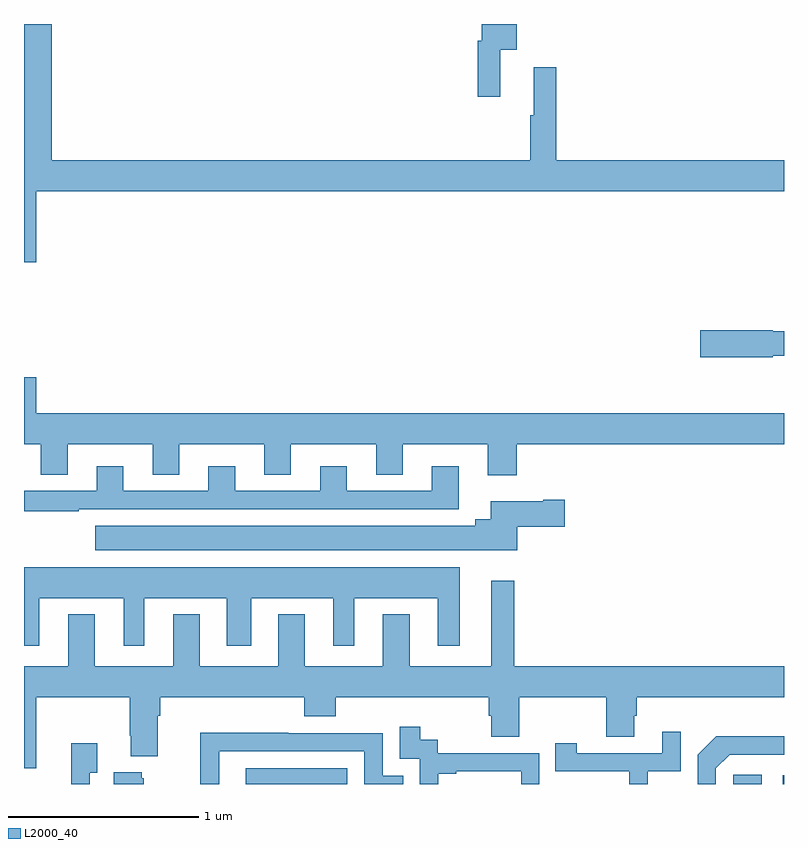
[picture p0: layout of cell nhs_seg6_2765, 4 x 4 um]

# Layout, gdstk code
import gdstk
lib = gdstk.Library(unit=1e-6, precision=1e-09)
def R(c, l, rs):  # rectangles x0, y0, x1, y1
    for r in rs: c.add(gdstk.rectangle(r[:2], r[2:], *l))
def P(c, l, *ps):  # polygons
    for p in ps: c.add(gdstk.Polygon(p, *l))
L2000_40 = (2000, 40)

nhs_seg6_2765 = lib.new_cell('nhs_seg6_2765')
R(nhs_seg6_2765, L2000_40, [(274.167,993.5,274.701,993.582), (276.732,993.5,276.883,993.55), (276.993,993.5,277,993.546)])
P(nhs_seg6_2765, L2000_40, [(275.507,997.364),(275.593,997.364),(275.593,997.5),(275.409,997.5),(275.409,997.412),(275.389,997.412),(275.389,997.116),(275.507,997.116)],
  [(275.684,997.273),(275.684,997.02),(275.665,997.02),(275.665,996.784),(273.146,996.784),(273.146,997.5),(273,997.5),(273,996.246),(273.064,996.246),(273.064,996.62),(277,996.62),(277,996.784),(275.801,996.784),(275.801,997.273)],
  [(276.942,995.754),(277,995.754),(277,995.882),(276.942,995.882),(276.942,995.888),(276.558,995.888),(276.558,995.746),(276.942,995.746)],
  [(275.594,995.288),(277,995.288),(277,995.452),(273.064,995.452),(273.064,995.641),(273,995.641),(273,995.288),(273.089,995.288),(273.089,995.128),(273.229,995.128),(273.229,995.288),(273.677,995.288),(273.677,995.128),(273.817,995.128),(273.817,995.288),(274.265,995.288),(274.265,995.128),(274.405,995.128),(274.405,995.288),(274.853,995.288),(274.853,995.128),(274.993,995.128),(274.993,995.288),(275.441,995.288),(275.441,995.124),(275.594,995.124)],
  [(273.287,994.947),(275.287,994.947),(275.287,995.173),(275.147,995.173),(275.147,995.043),(274.699,995.043),(274.699,995.173),(274.559,995.173),(274.559,995.043),(274.111,995.043),(274.111,995.173),(273.971,995.173),(273.971,995.043),(273.523,995.043),(273.523,995.173),(273.383,995.173),(273.383,995.043),(273,995.043),(273,994.935),(273.287,994.935)],
  [(275.596,994.853),(275.845,994.853),(275.845,994.995),(275.732,994.995),(275.732,994.987),(275.456,994.987),(275.456,994.894),(275.375,994.894),(275.375,994.858),(273.375,994.858),(273.375,994.73),(275.596,994.73)],
  [(273.079,994.478),(273.524,994.478),(273.524,994.227),(273.634,994.227),(273.634,994.478),(274.067,994.478),(274.067,994.227),(274.195,994.227),(274.195,994.478),(274.628,994.478),(274.628,994.227),(274.738,994.227),(274.738,994.478),(275.177,994.478),(275.177,994.227),(275.293,994.227),(275.293,994.642),(273,994.642),(273,994.227),(273.079,994.227)],
  [(274.64,993.956),(275.447,993.956),(275.447,993.858),(275.459,993.858),(275.459,993.748),(275.607,993.748),(275.607,993.956),(276.064,993.956),(276.064,993.748),(276.211,993.748),(276.211,993.858),(276.224,993.858),(276.224,993.956),(277,993.956),(277,994.12),(275.581,994.12),(275.581,994.57),(275.459,994.57),(275.459,994.12),(275.029,994.12),(275.029,994.393),(274.889,994.393),(274.889,994.12),(274.477,994.12),(274.477,994.393),(274.337,994.393),(274.337,994.12),(273.925,994.12),(273.925,994.393),(273.785,994.393),(273.785,994.12),(273.373,994.12),(273.373,994.393),(273.233,994.393),(273.233,994.12),(273,994.12),(273,993.582),(273.064,993.582),(273.064,993.956),(273.556,993.956),(273.556,993.754),(273.563,993.754),(273.563,993.647),(273.703,993.647),(273.703,993.86),(273.716,993.86),(273.716,993.956),(274.475,993.956),(274.475,993.857),(274.64,993.857)],
  [(275.18,993.555),(275.275,993.555),(275.275,993.567),(275.616,993.567),(275.616,993.5),(275.712,993.5),(275.712,993.663),(275.178,993.663),(275.178,993.732),(275.086,993.732),(275.086,993.802),(274.977,993.802),(274.977,993.633),(275.082,993.633),(275.082,993.5),(275.18,993.5)],
  [(276.282,993.567),(276.456,993.567),(276.456,993.775),(276.359,993.775),(276.359,993.663),(275.908,993.663),(275.908,993.715),(275.797,993.715),(275.797,993.567),(276.186,993.567),(276.186,993.5),(276.282,993.5)],
  [(274.027,993.672),(274.791,993.672),(274.791,993.5),(274.997,993.5),(274.997,993.543),(274.887,993.543),(274.887,993.768),(274.391,993.768),(274.391,993.77),(273.928,993.77),(273.928,993.5),(274.027,993.5)],
  [(276.642,993.582),(276.714,993.654),(277,993.654),(277,993.752),(276.644,993.752),(276.546,993.654),(276.546,993.5),(276.642,993.5)],
  [(273.345,993.559),(273.385,993.559),(273.385,993.715),(273.248,993.715),(273.248,993.5),(273.345,993.5)],
  [(273.631,993.531),(273.62,993.531),(273.62,993.562),(273.473,993.562),(273.473,993.5),(273.631,993.5)])

lib.write_gds('nhs_seg6_2765.gds')
